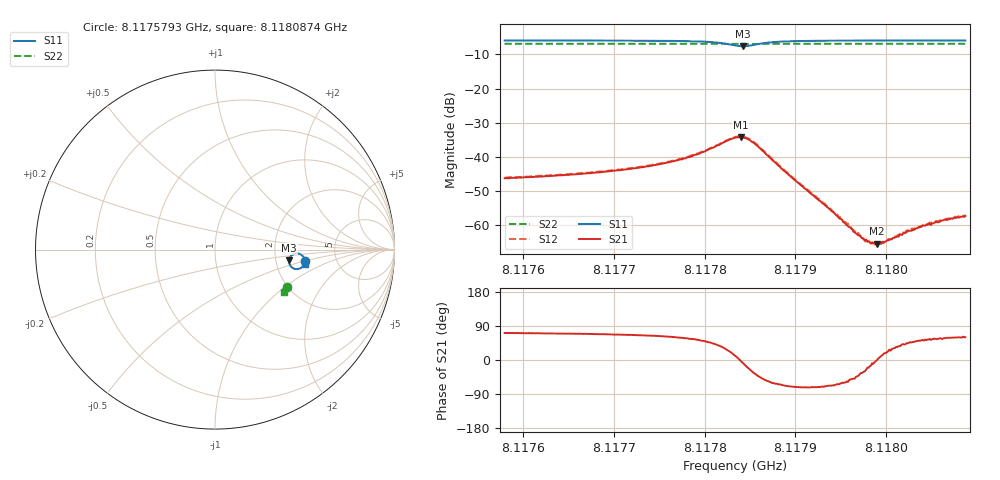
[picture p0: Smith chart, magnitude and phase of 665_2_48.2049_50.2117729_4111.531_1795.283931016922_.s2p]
#  HZ  S  RI  R  50.00
! Rohde & Schwarz Vector Network Analyzer
! Rohde-Schwarz,ZNB20-2Port,1311601062101988,3.16
! Created: UTC 3/20/2024, 12:05:53 PM
! freq[Hz]  re:S11  im:S11  re:S21  im:S21  re:S12  im:S12  re:S22  im:S22
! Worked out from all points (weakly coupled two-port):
!   401 points, 8.1175793 GHz to 8.1180874 GHz, reference 50 ohm
!   highest |S21| = -34.12 dB at 8.1178397 GHz (marker M1); lowest = -65.4 dB at 8.1179896 GHz (marker M2)
!   lowest |S11| = -7.6 dB at 8.1178422 GHz (marker M3), VSWR 2.43, Z = 119 - j17 ohm
!   |S11| at or under -10 dB: nowhere
!   |S22| runs from -6.9 to -6.9 dB; largest |S21 - S12| = 0.00067
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8.11757927e9  0.503 -0.0615  0.00156 0.00462  0.00161 0.00476  0.4029 -0.2067
8.11766438e9  0.5008 -0.0716  0.00202 0.00531  0.00217 0.0054  0.4003 -0.212
8.11770503e9  0.4988 -0.0776  0.0025 0.0059  0.00259 0.00604  0.399 -0.2146
8.11774949e9  0.4942 -0.0868  0.00352 0.00698  0.00362 0.00711  0.3972 -0.2177
8.11778379e9  0.4853 -0.0978  0.00564 0.00824  0.00587 0.00866  0.3958 -0.2201
8.11781682e9  0.4539 -0.1088  0.0123 0.00912  0.0126 0.00934  0.3936 -0.2222
8.11783333e9  0.4196 -0.0895  0.0189 0.00374  0.0192 0.00394  0.3917 -0.222
8.11783969e9  0.4124 -0.0688  0.0197 -0.000803  0.0201 -0.000705  0.3914 -0.2214
8.11784223e9  0.4126 -0.0593  0.0192 -0.00287  0.0197 -0.00268  0.3915 -0.2211
8.11784985e9  0.4245 -0.0347  0.0159 -0.00762  0.0164 -0.00785  0.392 -0.2205
8.11785747e9  0.4447 -0.023  0.0113 -0.00955  0.0117 -0.00989  0.3927 -0.2208
8.11788034e9  0.4835 -0.031  0.00347 -0.00684  0.00354 -0.00707  0.3936 -0.2229
8.11791845e9  0.4979 -0.0517  0.000899 -0.00268  0.000865 -0.0028  0.3929 -0.2262
8.11796672e9  0.5006 -0.0651  0.000545 -0.000533  0.000604 -0.000549  0.3913 -0.2296
8.11797561e9  0.5007 -0.0668  0.000538 -0.000319  0.000538 -0.000304  0.3911 -0.2303
8.1179845e9  0.5007 -0.0685  0.000554 -8.12e-05  0.000554 -0.000119  0.3908 -0.2309
8.11798958e9  0.5008 -0.0694  0.000539 -1.11e-05  0.000534 -4.61e-05  0.3905 -0.2311
8.11799721e9  0.5006 -0.0707  0.000534 0.000157  0.000543 0.00012  0.3903 -0.2317
8.11800356e9  0.5008 -0.0717  0.000546 0.000283  0.000567 0.00028  0.3902 -0.2321
8.11802515e9  0.5006 -0.0747  0.000581 0.000596  0.000595 0.000643  0.3892 -0.2336
8.11804548e9  0.5004 -0.0774  0.00059 0.00082  0.000625 0.000848  0.3885 -0.2348
8.1180874e9  0.5 -0.0823  0.000684 0.00119  0.000692 0.00123  0.3872 -0.2374
